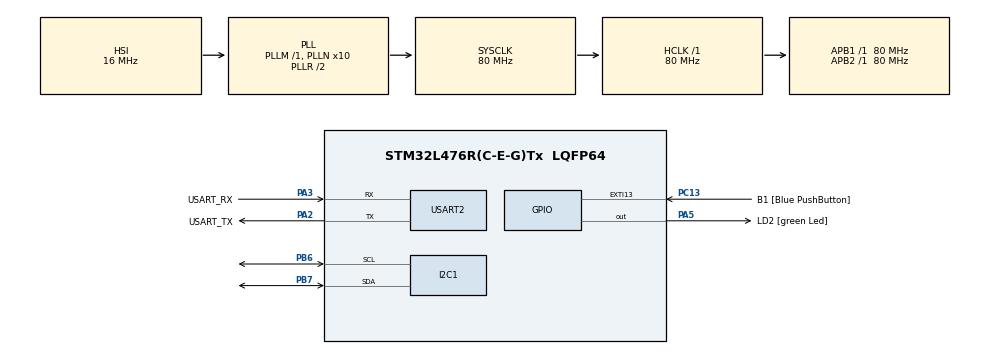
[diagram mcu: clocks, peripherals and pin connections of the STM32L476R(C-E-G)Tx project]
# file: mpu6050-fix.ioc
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I2C1.Timing=0x10909CEC
Mcu.Family=STM32L4
Mcu.Name=STM32L476R(C-E-G)Tx
Mcu.Package=LQFP64
NVIC.PriorityGroup=NVIC_PRIORITYGROUP_4
NVIC.TIM1_UP_TIM16_IRQn=true\:0\:0\:false\:false\:true\:true\:true\:true
PA13\ (JTMS-SWDIO).GPIO_Label=TMS
PA13\ (JTMS-SWDIO).Mode=Serial_Wire
PA13\ (JTMS-SWDIO).Signal=SYS_JTMS-SWDIO
PA14\ (JTCK-SWCLK).GPIO_Label=TCK
PA14\ (JTCK-SWCLK).Mode=Serial_Wire
PA14\ (JTCK-SWCLK).Signal=SYS_JTCK-SWCLK
PA2.GPIO_Label=USART_TX
PA2.GPIO_Mode=GPIO_MODE_AF_PP
PA2.GPIO_PuPd=GPIO_NOPULL
PA2.GPIO_Speed=GPIO_SPEED_FREQ_VERY_HIGH
PA2.Mode=Asynchronous
PA2.Signal=USART2_TX
PA3.GPIO_Label=USART_RX
PA3.GPIO_Mode=GPIO_MODE_AF_PP
PA3.GPIO_PuPd=GPIO_NOPULL
PA3.GPIO_Speed=GPIO_SPEED_FREQ_VERY_HIGH
PA3.Mode=Asynchronous
PA3.Signal=USART2_RX
PA5.GPIO_Label=LD2 [green Led]
PA5.GPIO_ModeDefaultOutputPP=GPIO_MODE_OUTPUT_PP
PA5.GPIO_PuPd=GPIO_NOPULL
PA5.GPIO_Speed=GPIO_SPEED_FREQ_LOW
PA5.Signal=GPIO_Output
PB3\ (JTDO-TRACESWO).GPIO_Label=SWO
PB3\ (JTDO-TRACESWO).Signal=SYS_JTDO-SWO
PB6.Mode=I2C
PB6.Signal=I2C1_SCL
PB7.Mode=I2C
PB7.Signal=I2C1_SDA
PC13.GPIO_Label=B1 [Blue PushButton]
PC13.GPIO_ModeDefaultEXTI=GPIO_MODE_IT_FALLING
PC13.GPIO_PuPd=GPIO_NOPULL
PC13.Signal=GPXTI13
PC14-OSC32_IN\ (PC14).Mode=LSE-External-Oscillator
PC14-OSC32_IN\ (PC14).Signal=RCC_OSC32_IN
PC15-OSC32_OUT\ (PC15).Mode=LSE-External-Oscillator
PC15-OSC32_OUT\ (PC15).Signal=RCC_OSC32_OUT
PH0-OSC_IN\ (PH0).Signal=RCC_OSC_IN
PH1-OSC_OUT\ (PH1).Signal=RCC_OSC_OUT
ProjectManager.HeapSize=0x200
ProjectManager.StackSize=0x400
ProjectManager.TargetToolchain=STM32CubeIDE
RCC.ADCFreq_Value=64000000
RCC.AHBFreq_Value=80000000
RCC.APB1Freq_Value=80000000
RCC.APB1TimFreq_Value=80000000
RCC.APB2Freq_Value=80000000
RCC.APB2TimFreq_Value=80000000
RCC.CortexFreq_Value=80000000
RCC.HCLKFreq_Value=80000000
RCC.HSE_VALUE=8000000
RCC.HSI_VALUE=16000000
RCC.MSI_VALUE=4000000
RCC.PLLN=10
RCC.PLLSourceVirtual=RCC_PLLSOURCE_HSI
RCC.PREFETCH_ENABLE=1
RCC.SYSCLKFreq_VALUE=80000000
RCC.SYSCLKSource=RCC_SYSCLKSOURCE_PLLCLK
RCC.USBFreq_Value=64000000
RCC.VCOOutputFreq_Value=160000000
TIM16.Period=50000-1
TIM16.Prescaler=16-1
USART2.VirtualMode-Asynchronous=VM_ASYNC
VP_TIM16_VS_ClockSourceINT.Mode=Enable_Timer
board=NUCLEO-L476RG

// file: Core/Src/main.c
/* USER CODE BEGIN Header */
/**
  ******************************************************************************
  * @file           : main.c
  * @brief          : Main program body
  ******************************************************************************
  * @attention
  *
  * Copyright (c) 2024 STMicroelectronics.
  * All rights reserved.
  *
  * This software is licensed under terms that can be found in the LICENSE file
  * in the root directory of this software component.
  * If no LICENSE file comes with this software, it is provided AS-IS.
  *
  ******************************************************************************
  */
/* USER CODE END Header */
#include "main.h"

/* USER CODE BEGIN Includes */

#include "main.h"
#include <stdio.h>
#include "../Inc/MPU6050.h"

#include <string.h>

// Functions that helps to send values to UART

void ftoa(float value1, float value2, char* buffer, int bufferSize, int decimalDigits) {
    int wholePart1 = (int)value1;
    int fractionalPart1 = (int)((value1 - wholePart1) * pow(10, decimalDigits));
    int wholePart2 = (int)value2;
    int fractionalPart2 = (int)((value2 - wholePart2) * pow(10, decimalDigits));

    // Check for negative values
    if (value1 < 0) {
        fractionalPart1 = -fractionalPart1;
    }
    if (value2 < 0) {
        fractionalPart2 = -fractionalPart2;
    }

    snprintf(buffer, bufferSize, "%d.%0*d,%d.%0*d\n", wholePart1, decimalDigits, fractionalPart1, wholePart2, decimalDigits, fractionalPart2);
}

void ftoa3(float value1, float value2, float value3, char* buffer, int bufferSize, int decimalDigits) {
    int wholePart1 = (int)value1;
    int fractionalPart1 = (int)((value1 - wholePart1) * pow(10, decimalDigits));
    int wholePart2 = (int)value2;
    int fractionalPart2 = (int)((value2 - wholePart2) * pow(10, decimalDigits));
    int wholePart3 = (int)value3;
    int fractionalPart3 = (int)((value3 - wholePart3) * pow(10, decimalDigits));

    // Check for negative values
    if (value1 < 0) {
        fractionalPart1 = -fractionalPart1;
    }
    if (value2 < 0) {
        fractionalPart2 = -fractionalPart2;
    }
    if (value3 < 0) {
        fractionalPart3 = -fractionalPart3;
    }

    snprintf(buffer, bufferSize, "%d.%0*d,%d.%0*d,%d.%0*d\n",
             wholePart1, decimalDigits, fractionalPart1,
             wholePart2, decimalDigits, fractionalPart2,
             wholePart3, decimalDigits, fractionalPart3);
}

/* USER CODE END Includes */

/* USER CODE BEGIN PTD */
MPU6050_t MPU6050;
volatile uint8_t Angles_flag = 0;
uint8_t itcounter;
volatile uint8_t B1_flag= 1;

char uart_buffer[64];
float Pitch_A;
float Roll_A;
float Pitch_G;
float Roll_G;

/* USER CODE END PTD */

I2C_HandleTypeDef hi2c1;

TIM_HandleTypeDef htim16;

UART_HandleTypeDef huart2;

void SystemClock_Config(void);
static void MX_GPIO_Init(void);
static void MX_USART2_UART_Init(void);
static void MX_I2C1_Init(void);
static void MX_TIM16_Init(void);
/* USER CODE BEGIN PFP */

void HAL_GPIO_EXTI_Callback(uint16_t GPIO_Pin)
{
    if(GPIO_Pin == GPIO_PIN_13)
    {
    	if(B1_flag){
    		B1_flag = 0;
    	}
    	else{
    		B1_flag = 1;
    	}

    }

}
/* USER CODE END PFP */

int main(void)
{

  /* MCU Configuration--------------------------------------------------------*/

  /* Reset of all peripherals, Initializes the Flash interface and the Systick. */
  HAL_Init();

  /* Configure the system clock */
  SystemClock_Config();

  /* Initialize all configured peripherals */
  MX_GPIO_Init();
  MX_USART2_UART_Init();
  MX_I2C1_Init();
  MX_TIM16_Init();
  /* USER CODE BEGIN 2 */

  HAL_TIM_Base_Start_IT(&htim16);
//  HAL_TIM_PWM_Start(&htim17, TIM_CHANNEL_1);

  while (MPU6050_Init(&hi2c1) == 1);
  /* USER CODE END 2 */

  /* Infinite loop */
  /* USER CODE BEGIN WHILE */
  while (1)
  {

	  if(Angles_flag){
		MPU6050_Read_MPU(&hi2c1, &MPU6050);
		Calculate_Accel_Values(&MPU6050);
		Calculate_Gyro_Values(&MPU6050);
		Get_Accel_Angles(&MPU6050);
		Get_Gyro_Angles(&MPU6050, 0.01);
		Comp_Filter_Results(&MPU6050);
		//R_Accel_Pitch(&Pitch_A, &MPU6050);
		Pitch_A = MPU6050.Accel_Pitch;
		//R_Accel_Roll(&Roll_A, &MPU6050);
		Roll_A = MPU6050.Accel_Roll;
		//R_Gyro_Pitch(&Pitch_G, &MPU6050);
		Pitch_G = MPU6050.Gyro_Pitch;
		//R_Gyro_Roll(&Roll_G, &MPU6050);
		Roll_G = MPU6050.Gyro_Roll;
		ftoa(Pitch_A,Roll_A, uart_buffer, sizeof(uart_buffer), 2);
		HAL_UART_Transmit(&huart2, (uint8_t*)uart_buffer, strlen(uart_buffer), HAL_MAX_DELAY);
		Angles_flag=0;
	  }

    /* USER CODE END WHILE */

  }
}

void SystemClock_Config(void)
{
  RCC_OscInitTypeDef RCC_OscInitStruct = {0};
  RCC_ClkInitTypeDef RCC_ClkInitStruct = {0};

  /** Configure the main internal regulator output voltage
  */
  if (HAL_PWREx_ControlVoltageScaling(PWR_REGULATOR_VOLTAGE_SCALE1) != HAL_OK)
  {
    Error_Handler();
  }

  /** Initializes the RCC Oscillators according to the specified parameters
  * in the RCC_OscInitTypeDef structure.
  */
  RCC_OscInitStruct.OscillatorType = RCC_OSCILLATORTYPE_HSI;
  RCC_OscInitStruct.HSIState = RCC_HSI_ON;
  RCC_OscInitStruct.HSICalibrationValue = RCC_HSICALIBRATION_DEFAULT;
  RCC_OscInitStruct.PLL.PLLState = RCC_PLL_ON;
  RCC_OscInitStruct.PLL.PLLSource = RCC_PLLSOURCE_HSI;
  RCC_OscInitStruct.PLL.PLLM = 1;
  RCC_OscInitStruct.PLL.PLLN = 10;
  RCC_OscInitStruct.PLL.PLLP = RCC_PLLP_DIV7;
  RCC_OscInitStruct.PLL.PLLQ = RCC_PLLQ_DIV2;
  RCC_OscInitStruct.PLL.PLLR = RCC_PLLR_DIV2;
  if (HAL_RCC_OscConfig(&RCC_OscInitStruct) != HAL_OK)
  {
    Error_Handler();
  }

  /** Initializes the CPU, AHB and APB buses clocks
  */
  RCC_ClkInitStruct.ClockType = RCC_CLOCKTYPE_HCLK|RCC_CLOCKTYPE_SYSCLK
                              |RCC_CLOCKTYPE_PCLK1|RCC_CLOCKTYPE_PCLK2;
  RCC_ClkInitStruct.SYSCLKSource = RCC_SYSCLKSOURCE_PLLCLK;
  RCC_ClkInitStruct.AHBCLKDivider = RCC_SYSCLK_DIV1;
  RCC_ClkInitStruct.APB1CLKDivider = RCC_HCLK_DIV1;
  RCC_ClkInitStruct.APB2CLKDivider = RCC_HCLK_DIV1;

  if (HAL_RCC_ClockConfig(&RCC_ClkInitStruct, FLASH_LATENCY_4) != HAL_OK)
  {
    Error_Handler();
  }
}

static void MX_I2C1_Init(void)
{

  hi2c1.Instance = I2C1;
  hi2c1.Init.Timing = 0x10909CEC;
  hi2c1.Init.OwnAddress1 = 0;
  hi2c1.Init.AddressingMode = I2C_ADDRESSINGMODE_7BIT;
  hi2c1.Init.DualAddressMode = I2C_DUALADDRESS_DISABLE;
  hi2c1.Init.OwnAddress2 = 0;
  hi2c1.Init.OwnAddress2Masks = I2C_OA2_NOMASK;
  hi2c1.Init.GeneralCallMode = I2C_GENERALCALL_DISABLE;
  hi2c1.Init.NoStretchMode = I2C_NOSTRETCH_DISABLE;
  if (HAL_I2C_Init(&hi2c1) != HAL_OK)
  {
    Error_Handler();
  }

  /** Configure Analogue filter
  */
  if (HAL_I2CEx_ConfigAnalogFilter(&hi2c1, I2C_ANALOGFILTER_ENABLE) != HAL_OK)
  {
    Error_Handler();
  }

  /** Configure Digital filter
  */
  if (HAL_I2CEx_ConfigDigitalFilter(&hi2c1, 0) != HAL_OK)
  {
    Error_Handler();
  }

}

static void MX_TIM16_Init(void)
{

  htim16.Instance = TIM16;
  htim16.Init.Prescaler = 16-1;
  htim16.Init.CounterMode = TIM_COUNTERMODE_UP;
  htim16.Init.Period = 50000-1;
  htim16.Init.ClockDivision = TIM_CLOCKDIVISION_DIV1;
  htim16.Init.RepetitionCounter = 0;
  htim16.Init.AutoReloadPreload = TIM_AUTORELOAD_PRELOAD_DISABLE;
  if (HAL_TIM_Base_Init(&htim16) != HAL_OK)
  {
    Error_Handler();
  }

}

static void MX_USART2_UART_Init(void)
{

  huart2.Instance = USART2;
  huart2.Init.BaudRate = 115200;
  huart2.Init.WordLength = UART_WORDLENGTH_8B;
  huart2.Init.StopBits = UART_STOPBITS_1;
  huart2.Init.Parity = UART_PARITY_NONE;
  huart2.Init.Mode = UART_MODE_TX_RX;
  huart2.Init.HwFlowCtl = UART_HWCONTROL_NONE;
  huart2.Init.OverSampling = UART_OVERSAMPLING_16;
  huart2.Init.OneBitSampling = UART_ONE_BIT_SAMPLE_DISABLE;
  huart2.AdvancedInit.AdvFeatureInit = UART_ADVFEATURE_NO_INIT;
  if (HAL_UART_Init(&huart2) != HAL_OK)
  {
    Error_Handler();
  }

}

static void MX_GPIO_Init(void)
{
  GPIO_InitTypeDef GPIO_InitStruct = {0};

  /* GPIO Ports Clock Enable */
  __HAL_RCC_GPIOC_CLK_ENABLE();
  __HAL_RCC_GPIOH_CLK_ENABLE();
  __HAL_RCC_GPIOA_CLK_ENABLE();
  __HAL_RCC_GPIOB_CLK_ENABLE();

  /*Configure GPIO pin Output Level */
  HAL_GPIO_WritePin(LD2_GPIO_Port, LD2_Pin, GPIO_PIN_RESET);

  /*Configure GPIO pin : B1_Pin */
  GPIO_InitStruct.Pin = B1_Pin;
  GPIO_InitStruct.Mode = GPIO_MODE_IT_FALLING;
  GPIO_InitStruct.Pull = GPIO_NOPULL;
  HAL_GPIO_Init(B1_GPIO_Port, &GPIO_InitStruct);

  /*Configure GPIO pin : LD2_Pin */
  GPIO_InitStruct.Pin = LD2_Pin;
  GPIO_InitStruct.Mode = GPIO_MODE_OUTPUT_PP;
  GPIO_InitStruct.Pull = GPIO_NOPULL;
  GPIO_InitStruct.Speed = GPIO_SPEED_FREQ_LOW;
  HAL_GPIO_Init(LD2_GPIO_Port, &GPIO_InitStruct);

}

/* USER CODE BEGIN 4 */

void HAL_TIM_PeriodElapsedCallback(TIM_HandleTypeDef *htim)
{
    if(htim == &htim16)
    {
        Angles_flag=1;
    }
}

/* USER CODE END 4 */

void Error_Handler(void)
{
  __disable_irq();
  while (1)
  {
  }
}
